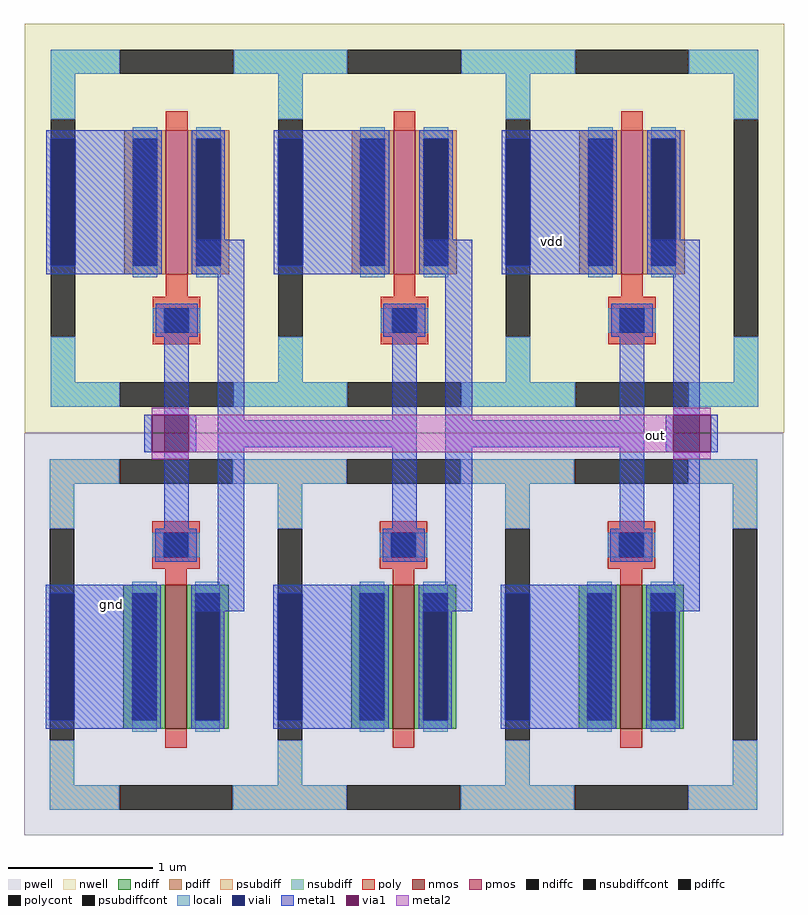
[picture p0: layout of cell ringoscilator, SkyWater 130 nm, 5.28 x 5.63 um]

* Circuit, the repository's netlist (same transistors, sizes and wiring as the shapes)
** sch_path: /home/bagatraya/icpolytron/ringoscilator/ringoscilator.sch
.subckt ringoscilator Vdd out GND
*.PININFO out:O Vdd:I GND:I
x1 Vdd out net1 GND inverter_gate
x2 Vdd net1 net2 GND inverter_gate
x3 Vdd net2 out GND inverter_gate
.ends

* expanding   symbol:  inverter_gate.sym # of pins=4
** sym_path: /home/bagatraya/icpolytron/ringoscilator/inverter_gate.sym
** sch_path: /home/bagatraya/icpolytron/ringoscilator/inverter_gate.sch
.subckt inverter_gate Vdd in out GND
*.PININFO in:I out:O Vdd:I GND:I
XM1 out in GND GND sky130_fd_pr__nfet_01v8 L=0.15 W=1 nf=1 m=1
XM2 out in Vdd Vdd sky130_fd_pr__pfet_01v8 L=0.15 W=1 nf=1 m=1
.ends

.end

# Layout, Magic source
magic
tech sky130A
magscale 1 2
<< metal1 >>
rect 714 2126 748 2158
rect 165 1847 175 1899
rect 227 1847 237 1899
rect 267 1854 543 1891
rect 583 1854 859 1891
rect 889 1847 899 1899
rect 951 1847 961 1899
rect 100 1616 130 1654
<< via1 >>
rect 175 1847 227 1899
rect 899 1847 951 1899
<< metal2 >>
rect 175 1899 227 1909
rect 899 1899 951 1909
rect 227 1847 899 1899
rect 175 1837 227 1847
rect 899 1837 951 1847
use inverter_gate  x1
transform 1 0 53 0 1 1306
box -55 9 368 1136
use inverter_gate  x2
transform 1 0 369 0 1 1306
box -55 9 368 1136
use inverter_gate  x3
transform 1 0 685 0 1 1306
box -55 9 368 1136
<< labels >>
flabel metal2 874 1870 874 1870 0 FreeSans 160 0 0 0 out
port 0 nsew
flabel metal1 732 2140 732 2140 0 FreeSans 160 0 0 0 vdd
port 1 nsew
flabel metal1 120 1636 120 1636 0 FreeSans 160 0 0 0 gnd
port 2 nsew
<< end >>

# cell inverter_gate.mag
magic
tech sky130A
magscale 1 2
<< viali >>
rect -18 800 16 976
rect -19 169 15 345
<< metal1 >>
rect -24 976 130 988
rect -24 800 -18 976
rect 16 800 130 976
rect -24 788 130 800
rect 184 788 251 836
rect 140 394 174 742
rect 214 357 251 788
rect -25 345 129 357
rect -25 169 -19 345
rect 15 169 129 345
rect 183 320 251 357
rect -25 157 129 169
use sky130_fd_pr__nfet_01v8_64Z3AY  XM1
transform 1 0 156 0 1 288
box -211 -279 211 279
use sky130_fd_pr__pfet_01v8_LGS3BL  XM2
transform 1 0 157 0 1 852
box -211 -284 211 284
<< labels >>
flabel metal1 25 906 25 906 0 FreeSans 160 0 0 0 Vdd
port 1 nsew
flabel metal1 20 259 20 259 0 FreeSans 160 0 0 0 GND
port 3 nsew
flabel metal1 155 571 155 571 0 FreeSans 160 0 0 0 in
port 5 nsew
flabel metal1 232 568 232 568 0 FreeSans 160 0 0 0 out
port 6 nsew
<< end >>

# cell sky130_fd_pr__nfet_01v8_64Z3AY: kit device sky130_fd_pr__nfet_01v8, w 1.0 l 0.15 m 1 nf 1 diffcov 100 polycov 100 guard 1 glc 1 grc 1 gtc 1 gbc 1 tbcov 100 rlcov 100 topc 1 botc 0 poverlap 0 doverlap 1 lmin 0.15 wmin 0.42 compatible {sky130_fd_pr__nfet_01v8 sky130_fd_pr__nfet_01v8_lvt sky130_fd_bs_flash__special_sonosfet_star sky130_fd_pr__nfet_g5v0d10v5 sky130_fd_pr__nfet_05v0_nvt sky130_fd_pr__nfet_03v3_nvt} full_metal 1 viasrc 100 viadrn 100 viagate 100 viagb 0 viagr 0 viagl 0 viagt 0

# cell sky130_fd_pr__pfet_01v8_LGS3BL: kit device sky130_fd_pr__pfet_01v8, w 1.0 l 0.15 m 1 nf 1 diffcov 100 polycov 100 guard 1 glc 1 grc 1 gtc 1 gbc 1 tbcov 100 rlcov 100 topc 0 botc 1 poverlap 0 doverlap 1 lmin 0.15 wmin 0.42 compatible {sky130_fd_pr__pfet_01v8 sky130_fd_pr__pfet_01v8_lvt sky130_fd_pr__pfet_01v8_hvt sky130_fd_pr__pfet_g5v0d10v5} full_metal 1 viasrc 100 viadrn 100 viagate 100 viagb 0 viagr 0 viagl 0 viagt 0
